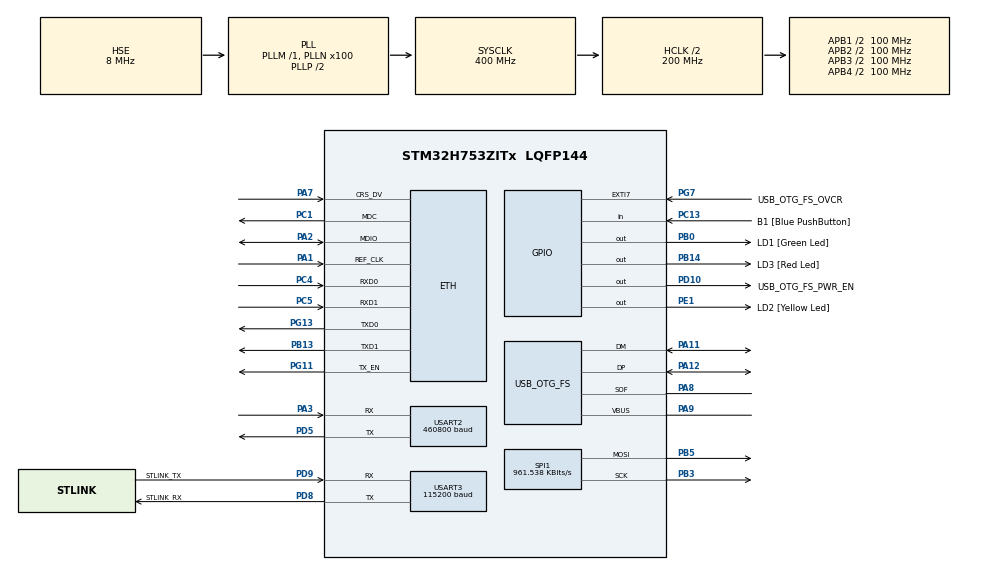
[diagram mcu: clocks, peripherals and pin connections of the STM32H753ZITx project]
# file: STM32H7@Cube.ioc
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CORTEX_M7.CPU_DCache=Disabled
CORTEX_M7.CPU_ICache=Disabled
CORTEX_M7.MPU_Control=__NULL
ETH.ETH_RX_DESC_CNT=4
ETH.ETH_TX_DESC_CNT=4
ETH.MACAddr=00\:80\:E1\:00\:00\:00
ETH.MediaInterface=HAL_ETH_RMII_MODE
ETH.RxBuffAddress=0x30040200
ETH.RxBuffLen=1524
ETH.RxDescAddress=0x30040000
ETH.TxDescAddress=0x30040060
Mcu.Family=STM32H7
Mcu.Name=STM32H753ZITx
Mcu.Package=LQFP144
NVIC.PriorityGroup=NVIC_PRIORITYGROUP_4
NVIC.SPI1_IRQn=true\:14\:0\:true\:false\:true\:true\:true\:true
NVIC.USART2_IRQn=true\:0\:0\:false\:false\:true\:true\:true\:true
NVIC.USART3_IRQn=true\:0\:0\:false\:false\:true\:true\:true\:true
PA1.Mode=RMII
PA1.Signal=ETH_REF_CLK
PA11.Mode=Device_Only
PA11.Signal=USB_OTG_FS_DM
PA12.Mode=Device_Only
PA12.Signal=USB_OTG_FS_DP
PA2.Mode=RMII
PA2.Signal=ETH_MDIO
PA3.Mode=Asynchronous
PA3.Signal=USART2_RX
PA7.Mode=RMII
PA7.Signal=ETH_CRS_DV
PA8.Mode=Activate_SOF_FS
PA8.Signal=USB_OTG_FS_SOF
PA9.Mode=Activate_VBUS
PA9.Signal=USB_OTG_FS_VBUS
PB0.GPIO_Label=LD1 [Green Led]
PB0.Signal=GPIO_Output
PB13.Mode=RMII
PB13.Signal=ETH_TXD1
PB14.GPIO_Label=LD3 [Red Led]
PB14.Signal=GPIO_Output
PB3\ (JTDO/TRACESWO).Mode=TX_Only_Simplex_Unidirect_Master
PB3\ (JTDO/TRACESWO).Signal=SPI1_SCK
PB5.Mode=TX_Only_Simplex_Unidirect_Master
PB5.Signal=SPI1_MOSI
PC1.Mode=RMII
PC1.Signal=ETH_MDC
PC13.GPIO_Label=B1 [Blue PushButton]
PC13.Signal=GPIO_Input
PC14-OSC32_IN\ (OSC32_IN).Mode=LSE-External-Oscillator
PC14-OSC32_IN\ (OSC32_IN).Signal=RCC_OSC32_IN
PC15-OSC32_OUT\ (OSC32_OUT).Mode=LSE-External-Oscillator
PC15-OSC32_OUT\ (OSC32_OUT).Signal=RCC_OSC32_OUT
PC4.Mode=RMII
PC4.Signal=ETH_RXD0
PC5.Mode=RMII
PC5.Signal=ETH_RXD1
PD10.GPIO_Label=USB_OTG_FS_PWR_EN
PD10.Signal=GPIO_Output
PD5.Mode=Asynchronous
PD5.Signal=USART2_TX
PD8.GPIO_Label=STLINK_RX
PD8.Mode=Asynchronous
PD8.Signal=USART3_TX
PD9.GPIO_Label=STLINK_TX
PD9.Mode=Asynchronous
PD9.Signal=USART3_RX
PE1.GPIO_Label=LD2 [Yellow Led]
PE1.Signal=GPIO_Output
PG11.Mode=RMII
PG11.Signal=ETH_TX_EN
PG13.Mode=RMII
PG13.Signal=ETH_TXD0
PG7.GPIO_Label=USB_OTG_FS_OVCR
PG7.Signal=GPXTI7
PH0-OSC_IN\ (PH0).Mode=HSE-External-Oscillator
PH0-OSC_IN\ (PH0).Signal=RCC_OSC_IN
PH1-OSC_OUT\ (PH1).Mode=HSE-External-Oscillator
PH1-OSC_OUT\ (PH1).Signal=RCC_OSC_OUT
ProjectManager.HeapSize=0x200
ProjectManager.StackSize=0x400
ProjectManager.TargetToolchain=Makefile
RCC.ADCFreq_Value=16125000
RCC.APB1Freq_Value=100000000
RCC.APB2Freq_Value=100000000
RCC.APB3Freq_Value=100000000
RCC.APB4Freq_Value=100000000
RCC.CortexFreq_Value=400000000
RCC.D1PPRE=RCC_APB3_DIV2
RCC.D2PPRE1=RCC_APB1_DIV2
RCC.D2PPRE2=RCC_APB2_DIV2
RCC.D3PPRE=RCC_APB4_DIV2
RCC.DIVM1=1
RCC.DIVN1=100
RCC.DIVQ1=13
RCC.HCLKFreq_Value=200000000
RCC.HPRE=RCC_HCLK_DIV2
RCC.HSE_VALUE=8000000
RCC.PLLFRACN=0
RCC.PWR_Regulator_Voltage_Scale=PWR_REGULATOR_VOLTAGE_SCALE1
RCC.SYSCLKFreq_VALUE=400000000
RCC.SYSCLKSource=RCC_SYSCLKSOURCE_PLLCLK
RCC.USBFreq_Value=61538461.538461536
SPI1.BaudRatePrescaler=SPI_BAUDRATEPRESCALER_64
SPI1.CalculateBaudRate=961.538 KBits/s
SPI1.DataSize=SPI_DATASIZE_8BIT
SPI1.Direction=SPI_DIRECTION_2LINES_TXONLY
SPI1.Mode=SPI_MODE_MASTER
SPI1.VirtualType=VM_MASTER
TIM1.Prescaler=400-1
USART2.BaudRate=460800
USART2.VirtualMode-Asynchronous=VM_ASYNC
USART3.AutoBaudRateEnableParam=UART_ADVFEATURE_AUTOBAUDRATE_DISABLE
USART3.BaudRate=115200
USART3.ClockPrescaler=PRESCALER_DIV1
USART3.DMADisableonRxErrorParam=ADVFEATURE_DMA_ENABLEONRXERROR
USART3.DataInvertParam=ADVFEATURE_DATAINV_DISABLE
USART3.FIFOMode=FIFOMODE_DISABLE
USART3.MSBFirstParam=ADVFEATURE_MSBFIRST_DISABLE
USART3.Mode=MODE_TX_RX
USART3.OneBitSampling=UART_ONE_BIT_SAMPLE_DISABLE
USART3.OverSampling=UART_OVERSAMPLING_16
USART3.OverrunDisableParam=ADVFEATURE_OVERRUN_ENABLE
USART3.Parity=PARITY_NONE
USART3.RXFIFOThreshold=RXFIFO_THRESHOLD_1EIGHTHFULL
USART3.RxPinLevelInvertParam=ADVFEATURE_RXINV_DISABLE
USART3.StopBits=STOPBITS_1
USART3.SwapParam=ADVFEATURE_SWAP_DISABLE
USART3.TXFIFOThreshold=TXFIFO_THRESHOLD_1EIGHTHFULL
USART3.TxPinLevelInvertParam=ADVFEATURE_TXINV_DISABLE
USART3.VirtualMode-Asynchronous=VM_ASYNC
USART3.WordLength=WORDLENGTH_8B
USB_OTG_FS.Sof_enable=ENABLE
USB_OTG_FS.VirtualMode=Device_Only
USB_OTG_FS.battery_charging_enable=ENABLE
USB_OTG_FS.low_power_enable=DISABLE
USB_OTG_FS.lpm_enable=DISABLE
USB_OTG_FS.use_dedicated_ep1=DISABLE
USB_OTG_FS.vbus_sensing_enable=ENABLE
VP_TIM1_VS_ClockSourceINT.Mode=Internal
board=NUCLEO-H753ZI

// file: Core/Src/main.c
/* USER CODE BEGIN Header */
/**
  ******************************************************************************
  * @file           : main.c
  * @brief          : Main program body
  ******************************************************************************
  * @attention
  *
  * Copyright (c) 2024 STMicroelectronics.
  * All rights reserved.
  *
  * This software is licensed under terms that can be found in the LICENSE file
  * in the root directory of this software component.
  * If no LICENSE file comes with this software, it is provided AS-IS.
  *
  ******************************************************************************
  */
/* USER CODE END Header */
#include "main.h"
#include "string.h"

#if defined ( __ICCARM__ ) /*!< IAR Compiler */
#pragma location=0x30040000
ETH_DMADescTypeDef  DMARxDscrTab[ETH_RX_DESC_CNT]; /* Ethernet Rx DMA Descriptors */
#pragma location=0x30040060
ETH_DMADescTypeDef  DMATxDscrTab[ETH_TX_DESC_CNT]; /* Ethernet Tx DMA Descriptors */

#elif defined ( __CC_ARM )  /* MDK ARM Compiler */

__attribute__((at(0x30040000))) ETH_DMADescTypeDef  DMARxDscrTab[ETH_RX_DESC_CNT]; /* Ethernet Rx DMA Descriptors */
__attribute__((at(0x30040060))) ETH_DMADescTypeDef  DMATxDscrTab[ETH_TX_DESC_CNT]; /* Ethernet Tx DMA Descriptors */

#elif defined ( __GNUC__ ) /* GNU Compiler */
ETH_DMADescTypeDef DMARxDscrTab[ETH_RX_DESC_CNT] __attribute__((section(".RxDecripSection"))); /* Ethernet Rx DMA Descriptors */
ETH_DMADescTypeDef DMATxDscrTab[ETH_TX_DESC_CNT] __attribute__((section(".TxDecripSection")));   /* Ethernet Tx DMA Descriptors */

#endif

ETH_TxPacketConfig TxConfig;

ETH_HandleTypeDef heth;

SPI_HandleTypeDef hspi1;

TIM_HandleTypeDef htim1;

UART_HandleTypeDef huart2;
UART_HandleTypeDef huart3;

PCD_HandleTypeDef hpcd_USB_OTG_FS;

/* USER CODE BEGIN PV */
uint8_t RxTempBuf[1] = "\0";
uint8_t TRANS_FLAG = 0;
int cnt = 0;
uint8_t RxFRAME[1024] = { 0 };
/* USER CODE END PV */

void SystemClock_Config(void);
static void MX_GPIO_Init(void);
static void MX_ETH_Init(void);
static void MX_SPI1_Init(void);
static void MX_USART2_UART_Init(void);
static void MX_USART3_UART_Init(void);
static void MX_USB_OTG_FS_PCD_Init(void);
static void MX_TIM1_Init(void);

/* USER CODE BEGIN 0 */
void delay_us (uint16_t us) {
	__HAL_TIM_SET_COUNTER(&htim1,0);
	while (__HAL_TIM_GET_COUNTER(&htim1) < us);
}

void LCD_SEND_BYTE(uint8_t* bytes) {
  HAL_SPI_Transmit(&hspi1, bytes, 3, 5000);
  delay_us(3);
}

void LCD_WRITE_COMMAND(uint8_t command_hex) {
  uint8_t _comm[3] = {
    0xF8,
    command_hex & 0xF0,
    (command_hex << 4) & 0xF0
  };
  LCD_SEND_BYTE(_comm);
}

void LCD_WRITE_CHAR(uint8_t char_hex) {
  uint8_t _comm[3] = {
    0xFA,
    char_hex & 0xF0,
    (char_hex << 4) & 0xF0
  };
  LCD_SEND_BYTE(_comm);
}

void DrawFullScreen(uint8_t *p)
{
  int ygroup,x,y,i;
  int temp;
  int tmp;

  for(ygroup=0;ygroup<64;ygroup++) {
    if(ygroup<32) {
      x=0x80;
      y=ygroup+0x80;
    }
    else {
      x=0x88;
      y=ygroup-32+0x80;
    }
    LCD_WRITE_COMMAND(0x36);
    LCD_WRITE_COMMAND(y);
    LCD_WRITE_COMMAND(x);
    LCD_WRITE_COMMAND(0x32);
    tmp=ygroup*16;
    for(i=0;i<16;i++) {
      temp=p[tmp++];
      LCD_WRITE_CHAR(temp);
    }
  }
  LCD_WRITE_COMMAND(0x34);
  LCD_WRITE_COMMAND(0x36);
}

void LCD_INIT() {
  LCD_WRITE_COMMAND(0x30);
  LCD_WRITE_COMMAND(0x0c);
  LCD_WRITE_COMMAND(0x01);
  LCD_WRITE_COMMAND(0x06);
  // LCD_WRITE_COMMAND(0x02);
}

void LCD_CLEAR() {
  LCD_WRITE_COMMAND(0x01);
  HAL_Delay(1);
}
/* USER CODE END 0 */

int main(void)
{

  /* MCU Configuration--------------------------------------------------------*/

  /* Reset of all peripherals, Initializes the Flash interface and the Systick. */
  HAL_Init();

  /* Configure the system clock */
  SystemClock_Config();

  /* Initialize all configured peripherals */
  MX_GPIO_Init();
  MX_ETH_Init();
  MX_SPI1_Init();
  MX_USART2_UART_Init();
  MX_USART3_UART_Init();
  MX_USB_OTG_FS_PCD_Init();
  MX_TIM1_Init();
  /* USER CODE BEGIN 2 */
  HAL_TIM_Base_Start(&htim1);
  HAL_UART_Receive_IT(&huart2, RxTempBuf, 1);

  LCD_INIT();
  HAL_Delay(100);

  char msg[] = "Waiting Frame...";
  for(int i=0;i<strlen(msg);i++) {
    uint8_t _c = msg[i];
    LCD_WRITE_CHAR(_c);
  }
  LCD_WRITE_COMMAND(0x0C);
  HAL_GPIO_WritePin(LD3_GPIO_Port, LD3_Pin, GPIO_PIN_SET);
  HAL_Delay(500);
  LCD_WRITE_COMMAND(0x01);
  HAL_Delay(100);
  /* USER CODE END 2 */

  /* Infinite loop */
  /* USER CODE BEGIN WHILE */
  uint8_t _req[] = "REQ";
  while (1)
  {
    /* USER CODE END WHILE */

    /* USER CODE BEGIN 3 */
    if(TRANS_FLAG == 0) {
      delay_us(1);
      HAL_UART_Transmit(&huart2, _req, 3, 100);
      TRANS_FLAG = 1;
    }
    if(TRANS_FLAG == 3) {
      LCD_CLEAR();
      DrawFullScreen(RxFRAME);
      TRANS_FLAG = 0;
    }
  }
  /* USER CODE END 3 */
}

void SystemClock_Config(void)
{
  RCC_OscInitTypeDef RCC_OscInitStruct = {0};
  RCC_ClkInitTypeDef RCC_ClkInitStruct = {0};

  /** Supply configuration update enable
  */
  HAL_PWREx_ConfigSupply(PWR_LDO_SUPPLY);

  /** Configure the main internal regulator output voltage
  */
  __HAL_PWR_VOLTAGESCALING_CONFIG(PWR_REGULATOR_VOLTAGE_SCALE1);

  while(!__HAL_PWR_GET_FLAG(PWR_FLAG_VOSRDY)) {}

  /** Initializes the RCC Oscillators according to the specified parameters
  * in the RCC_OscInitTypeDef structure.
  */
  RCC_OscInitStruct.OscillatorType = RCC_OSCILLATORTYPE_HSE;
  RCC_OscInitStruct.HSEState = RCC_HSE_ON;
  RCC_OscInitStruct.PLL.PLLState = RCC_PLL_ON;
  RCC_OscInitStruct.PLL.PLLSource = RCC_PLLSOURCE_HSE;
  RCC_OscInitStruct.PLL.PLLM = 1;
  RCC_OscInitStruct.PLL.PLLN = 100;
  RCC_OscInitStruct.PLL.PLLP = 2;
  RCC_OscInitStruct.PLL.PLLQ = 13;
  RCC_OscInitStruct.PLL.PLLR = 2;
  RCC_OscInitStruct.PLL.PLLRGE = RCC_PLL1VCIRANGE_3;
  RCC_OscInitStruct.PLL.PLLVCOSEL = RCC_PLL1VCOWIDE;
  RCC_OscInitStruct.PLL.PLLFRACN = 0;
  if (HAL_RCC_OscConfig(&RCC_OscInitStruct) != HAL_OK)
  {
    Error_Handler();
  }

  /** Initializes the CPU, AHB and APB buses clocks
  */
  RCC_ClkInitStruct.ClockType = RCC_CLOCKTYPE_HCLK|RCC_CLOCKTYPE_SYSCLK
                              |RCC_CLOCKTYPE_PCLK1|RCC_CLOCKTYPE_PCLK2
                              |RCC_CLOCKTYPE_D3PCLK1|RCC_CLOCKTYPE_D1PCLK1;
  RCC_ClkInitStruct.SYSCLKSource = RCC_SYSCLKSOURCE_PLLCLK;
  RCC_ClkInitStruct.SYSCLKDivider = RCC_SYSCLK_DIV1;
  RCC_ClkInitStruct.AHBCLKDivider = RCC_HCLK_DIV2;
  RCC_ClkInitStruct.APB3CLKDivider = RCC_APB3_DIV2;
  RCC_ClkInitStruct.APB1CLKDivider = RCC_APB1_DIV2;
  RCC_ClkInitStruct.APB2CLKDivider = RCC_APB2_DIV2;
  RCC_ClkInitStruct.APB4CLKDivider = RCC_APB4_DIV2;

  if (HAL_RCC_ClockConfig(&RCC_ClkInitStruct, FLASH_LATENCY_2) != HAL_OK)
  {
    Error_Handler();
  }
}

static void MX_ETH_Init(void)
{

   static uint8_t MACAddr[6];

  heth.Instance = ETH;
  MACAddr[0] = 0x00;
  MACAddr[1] = 0x80;
  MACAddr[2] = 0xE1;
  MACAddr[3] = 0x00;
  MACAddr[4] = 0x00;
  MACAddr[5] = 0x00;
  heth.Init.MACAddr = &MACAddr[0];
  heth.Init.MediaInterface = HAL_ETH_RMII_MODE;
  heth.Init.TxDesc = DMATxDscrTab;
  heth.Init.RxDesc = DMARxDscrTab;
  heth.Init.RxBuffLen = 1524;

  if (HAL_ETH_Init(&heth) != HAL_OK)
  {
    Error_Handler();
  }

  memset(&TxConfig, 0 , sizeof(ETH_TxPacketConfig));
  TxConfig.Attributes = ETH_TX_PACKETS_FEATURES_CSUM | ETH_TX_PACKETS_FEATURES_CRCPAD;
  TxConfig.ChecksumCtrl = ETH_CHECKSUM_IPHDR_PAYLOAD_INSERT_PHDR_CALC;
  TxConfig.CRCPadCtrl = ETH_CRC_PAD_INSERT;

}

static void MX_SPI1_Init(void)
{

  /* SPI1 parameter configuration*/
  hspi1.Instance = SPI1;
  hspi1.Init.Mode = SPI_MODE_MASTER;
  hspi1.Init.Direction = SPI_DIRECTION_2LINES_TXONLY;
  hspi1.Init.DataSize = SPI_DATASIZE_8BIT;
  hspi1.Init.CLKPolarity = SPI_POLARITY_LOW;
  hspi1.Init.CLKPhase = SPI_PHASE_1EDGE;
  hspi1.Init.NSS = SPI_NSS_SOFT;
  hspi1.Init.BaudRatePrescaler = SPI_BAUDRATEPRESCALER_64;
  hspi1.Init.FirstBit = SPI_FIRSTBIT_MSB;
  hspi1.Init.TIMode = SPI_TIMODE_DISABLE;
  hspi1.Init.CRCCalculation = SPI_CRCCALCULATION_DISABLE;
  hspi1.Init.CRCPolynomial = 0x0;
  hspi1.Init.NSSPMode = SPI_NSS_PULSE_ENABLE;
  hspi1.Init.NSSPolarity = SPI_NSS_POLARITY_LOW;
  hspi1.Init.FifoThreshold = SPI_FIFO_THRESHOLD_01DATA;
  hspi1.Init.TxCRCInitializationPattern = SPI_CRC_INITIALIZATION_ALL_ZERO_PATTERN;
  hspi1.Init.RxCRCInitializationPattern = SPI_CRC_INITIALIZATION_ALL_ZERO_PATTERN;
  hspi1.Init.MasterSSIdleness = SPI_MASTER_SS_IDLENESS_00CYCLE;
  hspi1.Init.MasterInterDataIdleness = SPI_MASTER_INTERDATA_IDLENESS_00CYCLE;
  hspi1.Init.MasterReceiverAutoSusp = SPI_MASTER_RX_AUTOSUSP_DISABLE;
  hspi1.Init.MasterKeepIOState = SPI_MASTER_KEEP_IO_STATE_DISABLE;
  hspi1.Init.IOSwap = SPI_IO_SWAP_DISABLE;
  if (HAL_SPI_Init(&hspi1) != HAL_OK)
  {
    Error_Handler();
  }

}

static void MX_TIM1_Init(void)
{

  TIM_ClockConfigTypeDef sClockSourceConfig = {0};
  TIM_MasterConfigTypeDef sMasterConfig = {0};

  htim1.Instance = TIM1;
  htim1.Init.Prescaler = 400-1;
  htim1.Init.CounterMode = TIM_COUNTERMODE_UP;
  htim1.Init.Period = 65535;
  htim1.Init.ClockDivision = TIM_CLOCKDIVISION_DIV1;
  htim1.Init.RepetitionCounter = 0;
  htim1.Init.AutoReloadPreload = TIM_AUTORELOAD_PRELOAD_DISABLE;
  if (HAL_TIM_Base_Init(&htim1) != HAL_OK)
  {
    Error_Handler();
  }
  sClockSourceConfig.ClockSource = TIM_CLOCKSOURCE_INTERNAL;
  if (HAL_TIM_ConfigClockSource(&htim1, &sClockSourceConfig) != HAL_OK)
  {
    Error_Handler();
  }
  sMasterConfig.MasterOutputTrigger = TIM_TRGO_RESET;
  sMasterConfig.MasterOutputTrigger2 = TIM_TRGO2_RESET;
  sMasterConfig.MasterSlaveMode = TIM_MASTERSLAVEMODE_DISABLE;
  if (HAL_TIMEx_MasterConfigSynchronization(&htim1, &sMasterConfig) != HAL_OK)
  {
    Error_Handler();
  }

}

static void MX_USART2_UART_Init(void)
{

  huart2.Instance = USART2;
  huart2.Init.BaudRate = 460800;
  huart2.Init.WordLength = UART_WORDLENGTH_8B;
  huart2.Init.StopBits = UART_STOPBITS_1;
  huart2.Init.Parity = UART_PARITY_NONE;
  huart2.Init.Mode = UART_MODE_TX_RX;
  huart2.Init.HwFlowCtl = UART_HWCONTROL_NONE;
  huart2.Init.OverSampling = UART_OVERSAMPLING_16;
  huart2.Init.OneBitSampling = UART_ONE_BIT_SAMPLE_DISABLE;
  huart2.Init.ClockPrescaler = UART_PRESCALER_DIV1;
  huart2.AdvancedInit.AdvFeatureInit = UART_ADVFEATURE_NO_INIT;
  if (HAL_UART_Init(&huart2) != HAL_OK)
  {
    Error_Handler();
  }
  if (HAL_UARTEx_SetTxFifoThreshold(&huart2, UART_TXFIFO_THRESHOLD_1_8) != HAL_OK)
  {
    Error_Handler();
  }
  if (HAL_UARTEx_SetRxFifoThreshold(&huart2, UART_RXFIFO_THRESHOLD_1_8) != HAL_OK)
  {
    Error_Handler();
  }
  if (HAL_UARTEx_DisableFifoMode(&huart2) != HAL_OK)
  {
    Error_Handler();
  }

}

static void MX_USART3_UART_Init(void)
{

  huart3.Instance = USART3;
  huart3.Init.BaudRate = 115200;
  huart3.Init.WordLength = UART_WORDLENGTH_8B;
  huart3.Init.StopBits = UART_STOPBITS_1;
  huart3.Init.Parity = UART_PARITY_NONE;
  huart3.Init.Mode = UART_MODE_TX_RX;
  huart3.Init.HwFlowCtl = UART_HWCONTROL_NONE;
  huart3.Init.OverSampling = UART_OVERSAMPLING_16;
  huart3.Init.OneBitSampling = UART_ONE_BIT_SAMPLE_DISABLE;
  huart3.Init.ClockPrescaler = UART_PRESCALER_DIV1;
  huart3.AdvancedInit.AdvFeatureInit = UART_ADVFEATURE_NO_INIT;
  if (HAL_UART_Init(&huart3) != HAL_OK)
  {
    Error_Handler();
  }
  if (HAL_UARTEx_SetTxFifoThreshold(&huart3, UART_TXFIFO_THRESHOLD_1_8) != HAL_OK)
  {
    Error_Handler();
  }
  if (HAL_UARTEx_SetRxFifoThreshold(&huart3, UART_RXFIFO_THRESHOLD_1_8) != HAL_OK)
  {
    Error_Handler();
  }
  if (HAL_UARTEx_DisableFifoMode(&huart3) != HAL_OK)
  {
    Error_Handler();
  }

}

static void MX_USB_OTG_FS_PCD_Init(void)
{

  hpcd_USB_OTG_FS.Instance = USB_OTG_FS;
  hpcd_USB_OTG_FS.Init.dev_endpoints = 9;
  hpcd_USB_OTG_FS.Init.speed = PCD_SPEED_FULL;
  hpcd_USB_OTG_FS.Init.dma_enable = DISABLE;
  hpcd_USB_OTG_FS.Init.phy_itface = PCD_PHY_EMBEDDED;
  hpcd_USB_OTG_FS.Init.Sof_enable = ENABLE;
  hpcd_USB_OTG_FS.Init.low_power_enable = DISABLE;
  hpcd_USB_OTG_FS.Init.lpm_enable = DISABLE;
  hpcd_USB_OTG_FS.Init.battery_charging_enable = ENABLE;
  hpcd_USB_OTG_FS.Init.vbus_sensing_enable = ENABLE;
  hpcd_USB_OTG_FS.Init.use_dedicated_ep1 = DISABLE;
  if (HAL_PCD_Init(&hpcd_USB_OTG_FS) != HAL_OK)
  {
    Error_Handler();
  }

}

static void MX_GPIO_Init(void)
{
  GPIO_InitTypeDef GPIO_InitStruct = {0};

  /* GPIO Ports Clock Enable */
  __HAL_RCC_GPIOC_CLK_ENABLE();
  __HAL_RCC_GPIOH_CLK_ENABLE();
  __HAL_RCC_GPIOA_CLK_ENABLE();
  __HAL_RCC_GPIOB_CLK_ENABLE();
  __HAL_RCC_GPIOD_CLK_ENABLE();
  __HAL_RCC_GPIOG_CLK_ENABLE();
  __HAL_RCC_GPIOE_CLK_ENABLE();

  /*Configure GPIO pin Output Level */
  HAL_GPIO_WritePin(GPIOB, LD1_Pin|LD3_Pin, GPIO_PIN_RESET);

  /*Configure GPIO pin Output Level */
  HAL_GPIO_WritePin(USB_OTG_FS_PWR_EN_GPIO_Port, USB_OTG_FS_PWR_EN_Pin, GPIO_PIN_RESET);

  /*Configure GPIO pin Output Level */
  HAL_GPIO_WritePin(LD2_GPIO_Port, LD2_Pin, GPIO_PIN_RESET);

  /*Configure GPIO pin : B1_Pin */
  GPIO_InitStruct.Pin = B1_Pin;
  GPIO_InitStruct.Mode = GPIO_MODE_INPUT;
  GPIO_InitStruct.Pull = GPIO_NOPULL;
  HAL_GPIO_Init(B1_GPIO_Port, &GPIO_InitStruct);

  /*Configure GPIO pins : LD1_Pin LD3_Pin */
  GPIO_InitStruct.Pin = LD1_Pin|LD3_Pin;
  GPIO_InitStruct.Mode = GPIO_MODE_OUTPUT_PP;
  GPIO_InitStruct.Pull = GPIO_NOPULL;
  GPIO_InitStruct.Speed = GPIO_SPEED_FREQ_LOW;
  HAL_GPIO_Init(GPIOB, &GPIO_InitStruct);

  /*Configure GPIO pin : USB_OTG_FS_PWR_EN_Pin */
  GPIO_InitStruct.Pin = USB_OTG_FS_PWR_EN_Pin;
  GPIO_InitStruct.Mode = GPIO_MODE_OUTPUT_PP;
  GPIO_InitStruct.Pull = GPIO_NOPULL;
  GPIO_InitStruct.Speed = GPIO_SPEED_FREQ_LOW;
  HAL_GPIO_Init(USB_OTG_FS_PWR_EN_GPIO_Port, &GPIO_InitStruct);

  /*Configure GPIO pin : USB_OTG_FS_OVCR_Pin */
  GPIO_InitStruct.Pin = USB_OTG_FS_OVCR_Pin;
  GPIO_InitStruct.Mode = GPIO_MODE_IT_RISING;
  GPIO_InitStruct.Pull = GPIO_NOPULL;
  HAL_GPIO_Init(USB_OTG_FS_OVCR_GPIO_Port, &GPIO_InitStruct);

  /*Configure GPIO pin : LD2_Pin */
  GPIO_InitStruct.Pin = LD2_Pin;
  GPIO_InitStruct.Mode = GPIO_MODE_OUTPUT_PP;
  GPIO_InitStruct.Pull = GPIO_NOPULL;
  GPIO_InitStruct.Speed = GPIO_SPEED_FREQ_LOW;
  HAL_GPIO_Init(LD2_GPIO_Port, &GPIO_InitStruct);

}

/* USER CODE BEGIN 4 */
void HAL_UART_RxCpltCallback(UART_HandleTypeDef *UartHandle) {
  if(UartHandle->Instance == USART2) {
    RxFRAME[cnt] = RxTempBuf[0];
    cnt++;

    if(cnt >= 1024) {
      TRANS_FLAG = 2;
    }

    switch (TRANS_FLAG) {
      case 1:
        break;

      case 2:
        TRANS_FLAG = 3;
        cnt = 0;
        break;

      default:
        break;
    }
    HAL_UART_Receive_IT(&huart2, RxTempBuf, 1);
  }
}
/* USER CODE END 4 */

void Error_Handler(void)
{
  __disable_irq();
  while (1)
  {
  }
}
